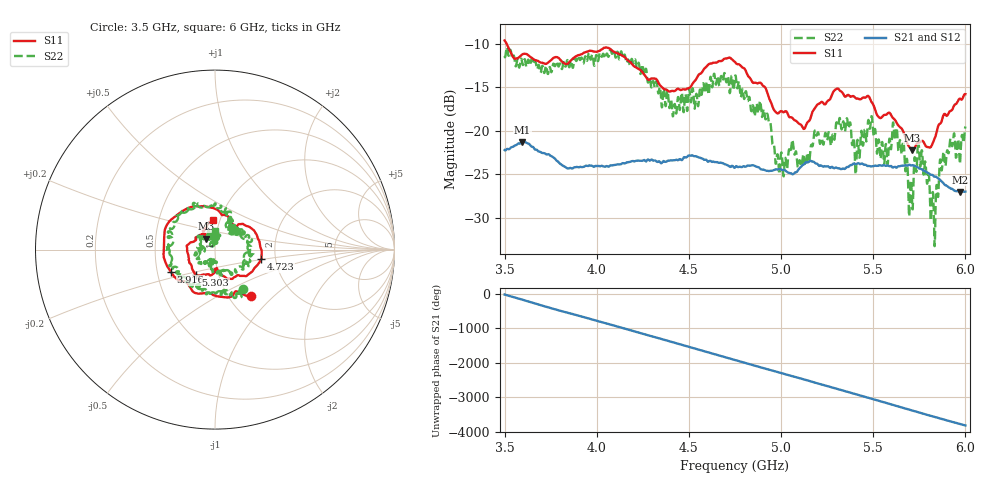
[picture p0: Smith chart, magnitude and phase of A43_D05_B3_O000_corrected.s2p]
! Created with skrf 1.9.0 (http://scikit-rf.org).
# Hz S RI R 50.0
!freq ReS11 ImS11 ReS21 ImS21 ReS12 ImS12 ReS22 ImS22
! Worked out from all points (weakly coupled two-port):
!   1601 points, 3.5 GHz to 6 GHz, reference 50 ohm
!   highest |S21| = -21.26 dB at 3.597 GHz (marker M1); lowest = -27.0 dB at 5.97 GHz (marker M2)
!   lowest |S11| = -22.2 dB at 5.713 GHz (marker M3), VSWR 1.17, Z = 45.1 + j5.54 ohm
!   |S11| at or under -10 dB: 3.511 GHz to end of sweep
!   |S22| runs from -33.2 to -10.4 dB; largest |S21 - S12| = 0.0012
!   S11 on the Smith chart (normalised r, x): 3.5 GHz: 1.27, -0.74; 3.916 GHz: 0.59, -0.16; 4.723 GHz: 1.68, -0.20; 5.303 GHz: 0.78, -0.22; 6 GHz: 0.93, +0.31
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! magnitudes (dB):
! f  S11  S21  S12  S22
! 3.5 GHz  -9.6  -22.2  -22.2  -11.4
! 3.597 GHz  -11.2  -21.3  -21.2  -12.3
! 3.916 GHz  -11.2  -24.1  -24.1  -11.6
! 3.917 GHz  -11.2  -24.2  -24.1  -11.6
! 4.141 GHz  -11.4  -23.7  -23.7  -11.6
! 4.334 GHz  -14.4  -23.5  -23.4  -15.7
! 4.422 GHz  -15.4  -23.4  -23.3  -16.9
! 4.723 GHz  -11.6  -24.1  -24.0  -15.6
! 4.75 GHz  -12.1  -24.2  -24.1  -13.8
! 4.931 GHz  -16.0  -24.6  -24.5  -18.7
! 4.981 GHz  -18.0  -24.4  -24.4  -22.7
! 5.167 GHz  -18.0  -23.5  -23.4  -21.7
! 5.303 GHz  -15.1  -24.3  -24.2  -19.1
! 5.484 GHz  -16.4  -24.1  -24.0  -19.4
! 5.584 GHz  -17.9  -24.0  -23.9  -21.7
! 5.617 GHz  -18.7  -24.1  -24.1  -21.1
! 5.713 GHz  -22.2  -23.9  -23.8  -29.0
! 5.753 GHz  -21.3  -24.3  -24.2  -23.9
! 5.823 GHz  -21.4  -25.1  -25.0  -27.0
! 5.872 GHz  -18.8  -25.8  -25.7  -24.5
! 5.97 GHz  -16.3  -27.0  -26.9  -23.8
! 6 GHz  -15.8  -27.0  -26.9  -19.5
